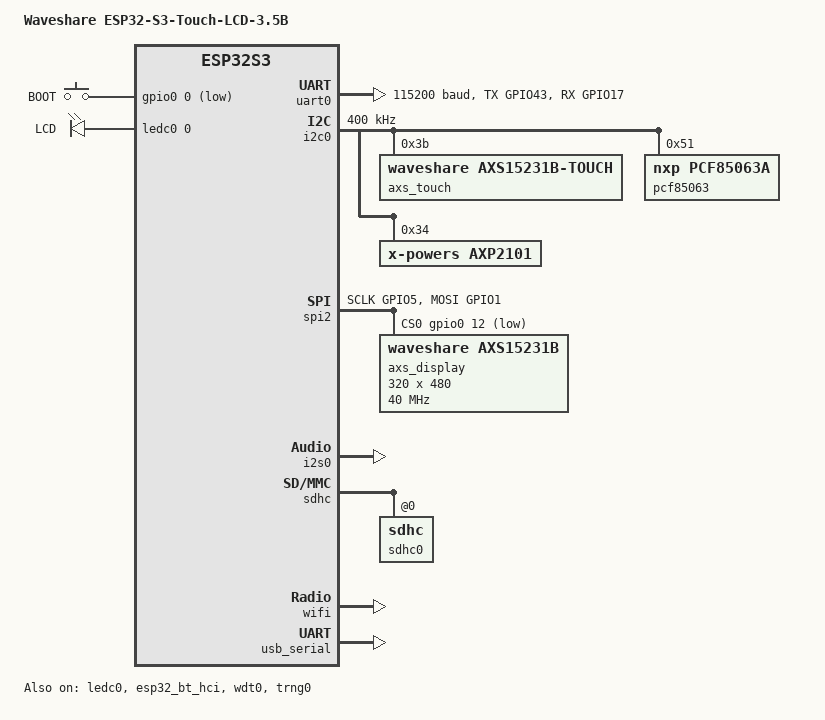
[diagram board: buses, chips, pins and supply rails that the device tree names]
/* SPDX-License-Identifier: MIT
 * Pinout: Waveshare official 01_factory esp_bsp (V1/V2 software compatible).
 */
/dts-v1/;
#include <espressif/esp32s3/esp32s3_wroom_n8.dtsi>
#include <espressif/partitions_0x0_amp.dtsi>
#include <zephyr/dt-bindings/pinctrl/esp-pinctrl-common.h>
#include <zephyr/dt-bindings/pinctrl/esp32s3-pinctrl.h>
#include <zephyr/dt-bindings/pinctrl/esp32s3-gpio-sigmap.h>
#include <zephyr/dt-bindings/gpio/gpio.h>
#include <zephyr/dt-bindings/pwm/pwm.h>
#include <zephyr/dt-bindings/input/input-event-codes.h>
#include <zephyr/dt-bindings/i2c/i2c.h>
/ {
 model = "Waveshare ESP32-S3-Touch-LCD-3.5B";
 compatible = "waveshare,esp32s3-touch-lcd-3-5b";
 chosen {
  zephyr,sram = &sram1;
  zephyr,flash = &flash0;
  zephyr,code-partition = &slot0_partition;
  zephyr,console = &uart0;
  zephyr,shell-uart = &uart0;
  zephyr,bt-hci = &esp32_bt_hci;
  zephyr,display = &axs_display;
  zephyr,touch = &axs_touch;
  zephyr,sdhc = &sdhc0;
  aster,imu = &qmi8658;
  aster,audio-i2c = &i2c0;
  aster,audio-i2s = &i2s0;
 };
 aliases {
  sw0 = &boot_button;
  i2c-0 = &i2c0;
  watchdog0 = &wdt0;
  lcd-bl = &lcd_backlight;
  rtc = &pcf85063;
 };
 buttons {
  compatible = "gpio-keys";
  boot_button: boot { gpios = <&gpio0 0 (GPIO_PULL_UP | GPIO_ACTIVE_LOW)>;
   label = "BOOT"; zephyr,code = <INPUT_KEY_0>; };
 };
 backlight {
  compatible = "pwm-leds";
  lcd_backlight: lcd { pwms = <&ledc0 0 PWM_USEC(200) PWM_POLARITY_NORMAL>; label = "LCD"; };
 };
 lvgl_pointer { compatible = "zephyr,lvgl-pointer-input"; input = <&axs_touch>; };
 wifi_ap: wifi_ap { compatible = "espressif,esp32-wifi"; status = "okay"; };
};
&flash0 { reg = <0x0 DT_SIZE_M(16)>; };
&psram0 { size = <DT_SIZE_M(8)>; };
&gpio0 { status = "okay"; };
&gpio1 { status = "okay"; };
&pinctrl {
 uart0_default: uart0_default { group1 { pinmux = <UART0_TX_GPIO43>; output-high; };
  group2 { pinmux = <UART0_RX_GPIO44>; bias-pull-up; }; };
 i2c0_default: i2c0_default { group1 { pinmux = <I2C0_SDA_GPIO8>, <I2C0_SCL_GPIO7>;
  bias-pull-up; drive-open-drain; output-high; }; };
 lcd_qspi_default: lcd_qspi_default { group1 { pinmux = <SPIM2_SCLK_GPIO5>,
  <SPIM2_MOSI_GPIO1>, <ESP32_PINMUX(2, ESP_NOSIG, ESP_FSPIQ_OUT)>,
  <ESP32_PINMUX(3, ESP_NOSIG, ESP_FSPIWP_OUT)>, <ESP32_PINMUX(4, ESP_NOSIG, ESP_FSPIHD_OUT)>; }; };
 ledc_default: ledc_default { group1 { pinmux = <LEDC_CH0_GPIO6>; output-enable; }; };
 sdhc0_default: sdhc0_default { group1 { pinmux = <SDHC0_CLKOUT_GPIO11>,
  <SDHC0_CMD_GPIO10>, <SDHC0_DATA0_GPIO9>; bias-pull-up; output-high; }; };
 i2s0_default: i2s0_default { group1 { pinmux = <I2S0_MCLK_GPIO44>,
  <I2S0_O_BCK_GPIO13>, <I2S0_O_WS_GPIO15>, <I2S0_O_SD_GPIO16>; output-enable; };
  group2 { pinmux = <I2S0_I_SD_GPIO14>; input-enable; }; };
};
/* UART RX on GPIO44 overlaps codec MCLK. Move RX to the expansion GPIO17. */
&uart0_default { group2 { pinmux = <UART0_RX_GPIO17>; }; };
&uart0 { status = "okay"; current-speed = <115200>;
 pinctrl-0 = <&uart0_default>; pinctrl-names = "default"; };
&i2c0 {
 status = "okay"; clock-frequency = <I2C_BITRATE_FAST>;
 pinctrl-0 = <&i2c0_default>; pinctrl-names = "default";
 axs_touch: touch@3b { compatible = "waveshare,axs15231b-touch"; reg = <0x3b>;
  screen-width = <320>; screen-height = <480>; status = "okay"; };
  qmi8658: imu@6b { compatible = "qst,qmi8658a"; reg = <0x6b>;
  accel-fs = <4>; gyro-fs = <512>; status = "disabled"; };
 pcf85063: rtc@51 { compatible = "nxp,pcf85063a"; reg = <0x51>; status = "okay"; };
 axp2101: pmic@34 { compatible = "x-powers,axp2101"; reg = <0x34>;
  regulators {
   compatible = "x-powers,axp2101-regulator";
   DCDC1 { regulator-init-microvolt = <3300000>; regulator-always-on; };
   DCDC3 { regulator-init-microvolt = <3300000>; regulator-always-on; };
   DCDC5 { regulator-init-microvolt = <3300000>; regulator-always-on; };
   ALDO1 { regulator-init-microvolt = <3300000>; regulator-always-on; };
   ALDO2 { regulator-init-microvolt = <3300000>; regulator-always-on; };
   ALDO3 { regulator-init-microvolt = <3300000>; regulator-always-on; };
   ALDO4 { regulator-init-microvolt = <3300000>; regulator-always-on; };
  };
 };
};
&spi2 {
 status = "okay"; pinctrl-0 = <&lcd_qspi_default>; pinctrl-names = "default";
 #address-cells = <1>; #size-cells = <0>;
 cs-gpios = <&gpio0 12 GPIO_ACTIVE_LOW>;
 half-duplex; dma-enabled; dmas = <&dma 0>, <&dma 1>; dma-names = "rx", "tx";
 axs_display: display@0 { compatible = "waveshare,axs15231b"; reg = <0>;
  spi-max-frequency = <40000000>; width = <320>; height = <480>; };
};
&spi3 { status = "disabled"; };
&i2c1 { status = "disabled"; };
&i2s0 { status = "okay"; pinctrl-0 = <&i2s0_default>; pinctrl-names = "default"; };
&i2s1 { status = "disabled"; };
&ledc0 { status = "okay"; pinctrl-0 = <&ledc_default>; pinctrl-names = "default";
 #address-cells = <1>; #size-cells = <0>;
 channel@0 { reg = <0>; timer = <0>; };
};
&sdhc { status = "okay";
 sdhc0: sdhc@0 { status = "okay"; pinctrl-0 = <&sdhc0_default>; pinctrl-names = "default";
  max-bus-freq = <10000000>; bus-width = <1>;
  mmc { compatible = "zephyr,sdmmc-disk"; disk-name = "SD"; status = "okay"; };
 };
};
&dma { status = "okay"; };
&wifi { status = "okay"; };
&esp32_bt_hci { status = "okay"; };
&usb_serial { status = "okay"; };
&usb_otg { status = "disabled"; };
&wdt0 { status = "okay"; };
&trng0 { status = "okay"; };
